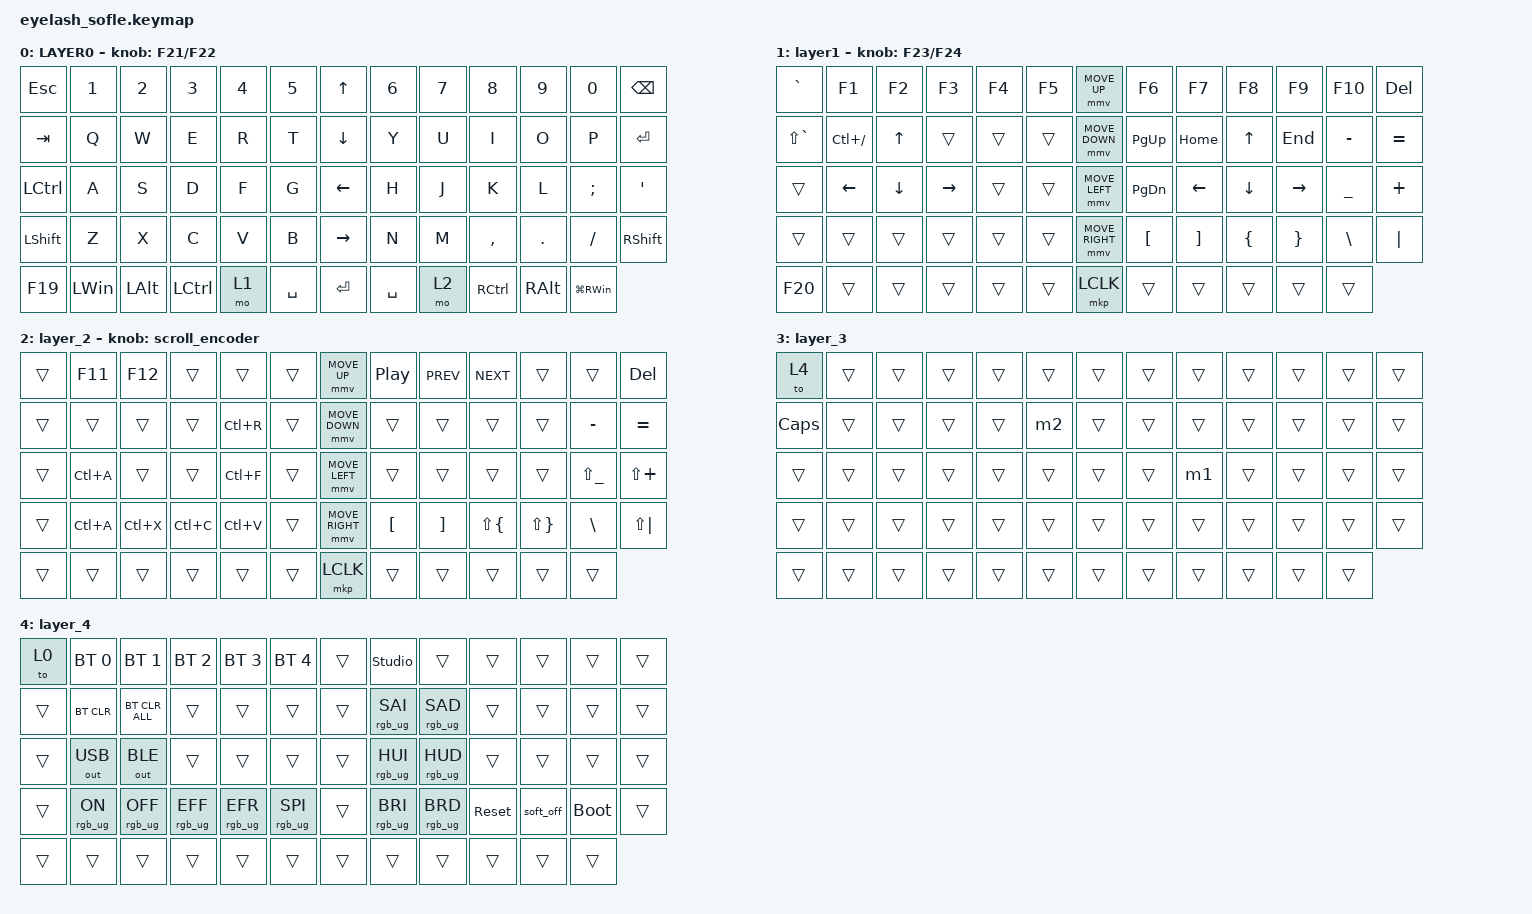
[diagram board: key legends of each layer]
#define ZMK_POINTING_DEFAULT_MOVE_VAL 1200  // 600
#define ZMK_POINTING_DEFAULT_SCRL_VAL 35    // 10

#include <input/processors.dtsi>
#include <zephyr/dt-bindings/input/input-event-codes.h>
#include <behaviors.dtsi>
#include <dt-bindings/zmk/bt.h>
#include <dt-bindings/zmk/keys.h>
#include <dt-bindings/zmk/outputs.h>
#include <dt-bindings/zmk/pointing.h>
#include <dt-bindings/zmk/rgb.h>

/ {
    zip_scroll_scaler: zip_scroll_scaler {
        compatible = "zmk,input-processor-scaler";
        #input-processor-cells = <2>;
        type = <INPUT_EV_REL>;
        codes = <INPUT_REL_WHEEL INPUT_REL_HWHEEL>;
        track-remainders;
    };
};

&mmv_input_listener { input-processors = <&zip_xy_scaler 2 1>; };

&msc_input_listener { input-processors = <&zip_scroll_scaler 2 1>; };

&msc {
    acceleration-exponent = <0>;      // 0
    time-to-max-speed-ms = <0>;       // 300
    delay-ms = <0>;                   // 0
};

&mmv {
    time-to-max-speed-ms = <400>;
    acceleration-exponent = <1>;
};

/ {
    scroll_encoder: scroll_encoder {
        compatible = "zmk,behavior-sensor-rotate";
        #sensor-binding-cells = <0>;
        bindings = <&msc SCRL_DOWN>, <&msc SCRL_UP>;

        tap-ms = <30>;
    };

    behaviors {
    };

    macros {
        m1: m1 {
            compatible = "zmk,behavior-macro";
            #binding-cells = <0>;
            bindings = <&kp J &kp E &kp F &kp F &kp R &kp E &kp Y &kp L &kp T &kp H &kp I &kp E &kp S &kp S &kp E &kp N &kp AT &kp G &kp M &kp A &kp I &kp L &kp DOT &kp C &kp O &kp M>;
            label = "M1";
        };

        m2: m2 {
            compatible = "zmk,behavior-macro";
            #binding-cells = <0>;
            bindings = <&kp T &kp H &kp E &kp R &kp A &kp B &kp I &kp D &kp W &kp E &kp A &kp S &kp E &kp L &kp S &kp AT &kp G &kp M &kp A &kp I &kp L &kp DOT &kp C &kp O &kp M>;
            label = "M2";
        };
    };

    keymap {
        compatible = "zmk,keymap";

        layer0 {
            bindings = <
&kp ESC           &kp N1        &kp N2        &kp N3     &kp N4  &kp N5       &kp UP_ARROW     &kp N6     &kp N7  &kp N8     &kp N9         &kp N0        &kp BACKSPACE
&kp TAB           &kp Q         &kp W         &kp E      &kp R   &kp T        &kp DOWN_ARROW   &kp Y      &kp U   &kp I      &kp O          &kp P         &kp ENTER
&kp LEFT_CONTROL  &kp A         &kp S         &kp D      &kp F   &kp G        &kp LEFT_ARROW   &kp H      &kp J   &kp K      &kp L          &kp SEMI      &kp APOS
&kp LSHFT         &kp Z         &kp X         &kp C      &kp V   &kp B        &kp RIGHT_ARROW  &kp N      &kp M   &kp COMMA  &kp DOT        &kp FSLH      &kp RIGHT_SHIFT
&kp F19           &kp LEFT_WIN  &kp LEFT_ALT  &kp LCTRL  &mo 1   &kp SPACE    &kp ENTER        &kp SPACE  &mo 2   &kp RCTRL  &kp RIGHT_ALT  &kp LG(RWIN)
            >;

            sensor-bindings = <&inc_dec_kp F21 F22>;
            display-name = "LAYER0";
        };

        layer_1 {
            bindings = <
&kp GRAVE      &kp F1         &kp F2    &kp F3     &kp F4  &kp F5    &mmv MOVE_UP     &kp F6            &kp F7             &kp F8          &kp F9           &kp F10         &kp DEL
&kp LS(GRAVE)  &kp LC(SLASH)  &kp UP    &trans     &trans  &trans    &mmv MOVE_DOWN   &kp PG_UP         &kp HOME           &kp UP          &kp END          &kp MINUS       &kp EQUAL
&trans         &kp LEFT       &kp DOWN  &kp RIGHT  &trans  &trans    &mmv MOVE_LEFT   &kp PG_DN         &kp LEFT           &kp DOWN        &kp RIGHT        &kp UNDERSCORE  &kp PLUS
&trans         &trans         &trans    &trans     &trans  &trans    &mmv MOVE_RIGHT  &kp LEFT_BRACKET  &kp RIGHT_BRACKET  &kp LEFT_BRACE  &kp RIGHT_BRACE  &kp BACKSLASH   &kp PIPE
&kp F20        &trans         &trans    &trans     &trans  &trans    &mkp LCLK        &trans            &trans             &trans          &trans           &trans
            >;

            display-name = "layer1";
            sensor-bindings = <&inc_dec_kp F23 F24>;
        };

        layer_2 {
            bindings = <
&trans  &kp F11    &kp F12    &trans     &trans     &trans    &mmv MOVE_UP     &kp C_PLAY_PAUSE  &kp C_PREV  &kp C_NEXT    &trans        &trans         &kp DEL
&trans  &trans     &trans     &trans     &kp LC(R)  &trans    &mmv MOVE_DOWN   &trans            &trans      &trans        &trans        &kp MINUS      &kp EQUAL
&trans  &kp LC(A)  &trans     &trans     &kp LC(F)  &trans    &mmv MOVE_LEFT   &trans            &trans      &trans        &trans        &kp LS(UNDER)  &kp LS(PLUS)
&trans  &kp LC(A)  &kp LC(X)  &kp LC(C)  &kp LC(V)  &trans    &mmv MOVE_RIGHT  &kp LBKT          &kp RBKT    &kp LS(LBRC)  &kp LS(RBRC)  &kp BSLH       &kp LS(PIPE)
&trans  &trans     &trans     &trans     &trans     &trans    &mkp LCLK        &trans            &trans      &trans        &trans        &trans
            >;

            sensor-bindings = <&scroll_encoder>;
        };

        layer_3 {
            bindings = <
&to 4         &trans  &trans  &trans  &trans  &trans    &trans  &trans  &trans  &trans  &trans  &trans  &trans
&kp CAPSLOCK  &trans  &trans  &trans  &trans  &m2       &trans  &trans  &trans  &trans  &trans  &trans  &trans
&trans        &trans  &trans  &trans  &trans  &trans    &trans  &trans  &m1     &trans  &trans  &trans  &trans
&trans        &trans  &trans  &trans  &trans  &trans    &trans  &trans  &trans  &trans  &trans  &trans  &trans
&trans        &trans  &trans  &trans  &trans  &trans    &trans  &trans  &trans  &trans  &trans  &trans
            >;
        };

        layer_4 {
            bindings = <
&to 0   &bt BT_SEL 0    &bt BT_SEL 1     &bt BT_SEL 2     &bt BT_SEL 3     &bt BT_SEL 4       &trans  &studio_unlock   &trans           &trans      &trans     &trans       &trans
&trans  &bt BT_CLR      &bt BT_CLR_ALL   &trans           &trans           &trans             &trans  &rgb_ug RGB_SAI  &rgb_ug RGB_SAD  &trans      &trans     &trans       &trans
&trans  &out OUT_USB    &out OUT_BLE     &trans           &trans           &trans             &trans  &rgb_ug RGB_HUI  &rgb_ug RGB_HUD  &trans      &trans     &trans       &trans
&trans  &rgb_ug RGB_ON  &rgb_ug RGB_OFF  &rgb_ug RGB_EFF  &rgb_ug RGB_EFR  &rgb_ug RGB_SPI    &trans  &rgb_ug RGB_BRI  &rgb_ug RGB_BRD  &sys_reset  &soft_off  &bootloader  &trans
&trans  &trans          &trans           &trans           &trans           &trans             &trans  &trans           &trans           &trans      &trans     &trans
            >;
        };
    };

    conditional_layers {
        compatible = "zmk,conditional-layers";

        goto3 {
            if-layers = <1 2>;
            then-layer = <3>;
        };
    };
};
